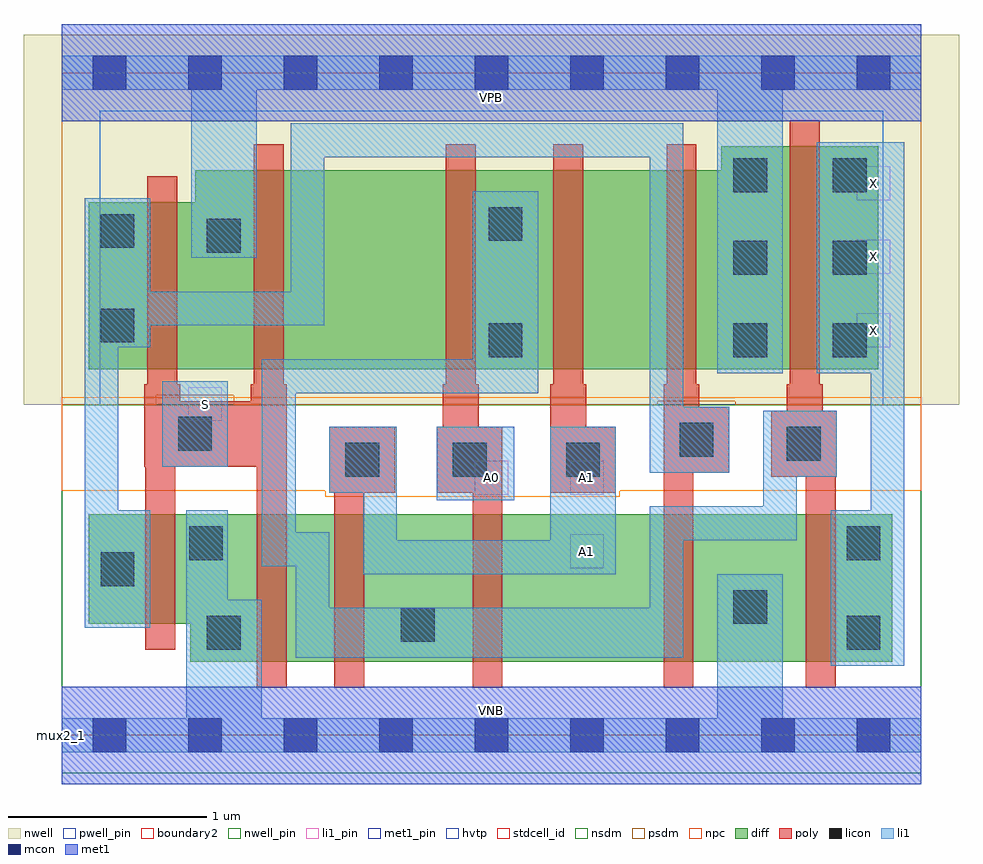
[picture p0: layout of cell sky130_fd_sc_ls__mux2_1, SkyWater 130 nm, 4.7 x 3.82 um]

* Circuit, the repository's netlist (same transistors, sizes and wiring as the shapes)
* Copyright 2020 The SkyWater PDK Authors
*
* Licensed under the Apache License, Version 2.0 (the "License");
* you may not use this file except in compliance with the License.
* You may obtain a copy of the License at
*
*     https://www.apache.org/licenses/LICENSE-2.0
*
* Unless required by applicable law or agreed to in writing, software
* distributed under the License is distributed on an "AS IS" BASIS,
* WITHOUT WARRANTIES OR CONDITIONS OF ANY KIND, either express or implied.
* See the License for the specific language governing permissions and
* limitations under the License.
*
* SPDX-License-Identifier: Apache-2.0

.SUBCKT sky130_fd_sc_ls__mux2_1 A0 A1 S VGND VNB VPB VPWR X
*.PININFO A0:I A1:I S:I VGND:I VNB:I VPB:I VPWR:I X:O
MMNA00 xb A0 smdNA0 VNB sky130_fd_pr__nfet_01v8 m=1 w=0.74U l=0.15U mult=1 sa=0.265
+ sb=0.265 sd=0.28 area=0.063 perim=1.14
MMNA01 smdNA0 Sb VGND VNB sky130_fd_pr__nfet_01v8 m=1 w=0.74U l=0.15U mult=1 sa=0.265
+ sb=0.265 sd=0.28 area=0.063 perim=1.14
MMNA10 xb A1 sndNA1 VNB sky130_fd_pr__nfet_01v8 m=1 w=0.74U l=0.15U mult=1 sa=0.265
+ sb=0.265 sd=0.28 area=0.063 perim=1.14
MMNA11 sndNA1 S VGND VNB sky130_fd_pr__nfet_01v8 m=1 w=0.74U l=0.15U mult=1 sa=0.265
+ sb=0.265 sd=0.28 area=0.063 perim=1.14
MMIN1 Sb S VGND VNB sky130_fd_pr__nfet_01v8 m=1 w=0.55U l=0.15U mult=1 sa=0.265
+ sb=0.265 sd=0.28 area=0.063 perim=1.14
MMIN2 X xb VGND VNB sky130_fd_pr__nfet_01v8 m=1 w=0.74U l=0.15U mult=1 sa=0.265
+ sb=0.265 sd=0.28 area=0.063 perim=1.14
MMPA00 VPWR S sndPS VPB sky130_fd_pr__pfet_01v8_hvt m=1 w=1.0U l=0.15U mult=1 sa=0.265
+ sb=0.265 sd=0.28 area=0.063 perim=1.14
MMPA01 sndPS A0 xb VPB sky130_fd_pr__pfet_01v8_hvt m=1 w=1.0U l=0.15U mult=1 sa=0.265
+ sb=0.265 sd=0.28 area=0.063 perim=1.14
MMPA10 VPWR Sb sndPSb VPB sky130_fd_pr__pfet_01v8_hvt m=1 w=1.0U l=0.15U mult=1
+ sa=0.265 sb=0.265 sd=0.28 area=0.063 perim=1.14
MMPA11 sndPSb A1 xb VPB sky130_fd_pr__pfet_01v8_hvt m=1 w=1.0U l=0.15U mult=1 sa=0.265
+ sb=0.265 sd=0.28 area=0.063 perim=1.14
MMIP1 Sb S VPWR VPB sky130_fd_pr__pfet_01v8_hvt m=1 w=0.84U l=0.15U mult=1 sa=0.265
+ sb=0.265 sd=0.28 area=0.063 perim=1.14
MMIP2 X xb VPWR VPB sky130_fd_pr__pfet_01v8_hvt m=1 w=1.12U l=0.15U mult=1 sa=0.265
+ sb=0.265 sd=0.28 area=0.063 perim=1.14
.ENDS sky130_fd_sc_ls__mux2_1

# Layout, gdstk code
import gdstk
lib = gdstk.Library(unit=1e-6, precision=1e-09)
def R(c, l, rs):  # rectangles x0, y0, x1, y1
    for r in rs: c.add(gdstk.rectangle(r[:2], r[2:], *l))
def A(c, l, x, y, w, h, nx, ny, dx, dy):  # array of equal rectangles
    R(c, l, [(x+i*dx, y+j*dy, x+i*dx+w, y+j*dy+h) for i in range(nx) for j in range(ny)])
def P(c, l, *ps):  # polygons
    for p in ps: c.add(gdstk.Polygon(p, *l))
nwell_pin = (64, 16)
nwell = (64, 20)
diff = (65, 20)
poly = (66, 20)
licon = (66, 44)
li1_pin = (67, 16)
li1 = (67, 20)
mcon = (67, 44)
met1_pin = (68, 16)
met1 = (68, 20)
hvtp = (78, 44)
stdcell_id = (81, 4)
nsdm = (93, 44)
psdm = (94, 20)
npc = (95, 20)
pwell_pin = (122, 16)
boundary2 = (236, 0)

sky130_fd_sc_ls__mux2_1 = lib.new_cell('sky130_fd_sc_ls__mux2_1')
R(sky130_fd_sc_ls__mux2_1, nwell_pin, [(0,3.085,4.32,3.33)])
R(sky130_fd_sc_ls__mux2_1, nwell, [(-0.19,1.66,4.51,3.52)])
P(sky130_fd_sc_ls__mux2_1, diff, [(4.105,2.96),(3.315,2.96),(3.315,2.84),(0.67,2.84),(0.67,2.68),(0.135,2.68),(0.135,1.84),(4.105,1.84)],
  [(4.175,1.11),(0.135,1.11),(0.135,0.56),(0.645,0.56),(0.645,0.37),(4.175,0.37)])
P(sky130_fd_sc_ls__mux2_1, poly, [(1.13,1.765),(1.115,1.765),(1.115,2.97),(0.965,2.97),(0.965,1.765),(0.95,1.765),(0.95,1.68),(0.595,1.68),(0.595,1.765),(0.58,1.765),(0.58,2.81),(0.43,2.81),(0.43,1.765),(0.415,1.765),(0.415,1.35),(0.42,1.35),(0.42,0.43),(0.57,0.43),(0.57,1.35),(0.98,1.35),(0.98,0.24),(1.13,0.24)],
  [(1.675,1.55),(1.345,1.55),(1.345,1.22),(1.37,1.22),(1.37,0.24),(1.52,0.24),(1.52,1.22),(1.675,1.22)],
  [(2.215,1.55),(2.095,1.55),(2.095,1.765),(2.08,1.765),(2.08,2.97),(1.93,2.97),(1.93,1.765),(1.915,1.765),(1.915,1.55),(1.885,1.55),(1.885,1.22),(2.065,1.22),(2.065,0.24),(2.215,0.24)],
  [(2.785,1.55),(2.635,1.55),(2.635,1.765),(2.62,1.765),(2.62,2.97),(2.47,2.97),(2.47,1.765),(2.455,1.765),(2.455,1.22),(2.785,1.22)],
  [(3.355,1.65),(3.205,1.65),(3.205,1.765),(3.19,1.765),(3.19,2.97),(3.04,2.97),(3.04,1.765),(3.025,1.765),(3.025,0.24),(3.175,0.24),(3.175,1.32),(3.355,1.32)],
  [(3.895,1.63),(3.825,1.63),(3.825,1.765),(3.81,1.765),(3.81,3.09),(3.66,3.09),(3.66,1.765),(3.645,1.765),(3.645,1.63),(3.565,1.63),(3.565,1.3),(3.74,1.3),(3.74,0.24),(3.89,0.24),(3.89,1.3),(3.895,1.3)])
A(sky130_fd_sc_ls__mux2_1, licon, 3.375, 1.9, 0.17, 0.17, 1, 3, 0, 0.415)
A(sky130_fd_sc_ls__mux2_1, licon, 3.875, 1.9, 0.17, 0.17, 1, 3, 0, 0.415)
R(sky130_fd_sc_ls__mux2_1, licon, [(0.73,0.43,0.9,0.6), (3.945,0.43,4.115,0.6), (1.705,0.47,1.875,0.64), (3.375,0.56,3.545,0.73), (0.195,0.75,0.365,0.92), (0.64,0.88,0.81,1.05), (3.945,0.88,4.115,1.05), (1.425,1.3,1.595,1.47), (1.965,1.3,2.135,1.47), (2.535,1.3,2.705,1.47), (3.645,1.38,3.815,1.55), (3.105,1.4,3.275,1.57), (0.585,1.43,0.755,1.6), (2.145,1.9,2.315,2.07), (0.195,1.975,0.365,2.145), (0.73,2.425,0.9,2.595), (0.195,2.45,0.365,2.62), (2.145,2.485,2.315,2.655)])
A(sky130_fd_sc_ls__mux2_1, li1_pin, 3.995, 1.95, 0.17, 0.17, 1, 3, 0, 0.37)
R(sky130_fd_sc_ls__mux2_1, li1_pin, [(2.555,0.84,2.725,1.01), (2.075,1.21,2.245,1.38), (2.555,1.21,2.725,1.38), (0.635,1.58,0.805,1.75)])
R(sky130_fd_sc_ls__mux2_1, li1, [(1.885,1.18,2.275,1.55), (0.505,1.35,0.835,1.78)])
P(sky130_fd_sc_ls__mux2_1, li1, [(2.785,1.55),(2.455,1.55),(2.455,0.98),(1.685,0.98),(1.685,1.55),(1.345,1.55),(1.345,1.22),(1.515,1.22),(1.515,0.81),(2.785,0.81)],
  [(3.355,1.65),(3.125,1.65),(3.125,3.075),(1.15,3.075),(1.15,2.23),(0.445,2.23),(0.445,2.7),(0.115,2.7),(0.115,0.54),(0.445,0.54),(0.445,1.13),(0.285,1.13),(0.285,1.95),(0.445,1.95),(0.445,2.06),(1.32,2.06),(1.32,2.905),(2.955,2.905),(2.955,1.32),(3.355,1.32)],
  [(3.895,1.63),(3.525,1.63),(3.525,1.15),(2.955,1.15),(2.955,0.64),(1.345,0.64),(1.345,1.02),(1.175,1.02),(1.175,1.72),(2.395,1.72),(2.395,2.735),(2.065,2.735),(2.065,1.89),(1.005,1.89),(1.005,0.85),(1.175,0.85),(1.175,0.39),(3.125,0.39),(3.125,0.98),(3.695,0.98),(3.695,1.3),(3.895,1.3)],
  [(4.235,2.98),(3.795,2.98),(3.795,1.82),(4.065,1.82),(4.065,1.13),(3.865,1.13),(3.865,0.35),(4.235,0.35)],
  [(4.32,3.415),(0,3.415),(0,3.245),(0.65,3.245),(0.65,2.4),(0.98,2.4),(0.98,3.245),(3.295,3.245),(3.295,1.82),(3.625,1.82),(3.625,3.245),(4.32,3.245)],
  [(4.32,0.085),(3.625,0.085),(3.625,0.81),(3.295,0.81),(3.295,0.085),(1.005,0.085),(1.005,0.68),(0.835,0.68),(0.835,1.13),(0.625,1.13),(0.625,0.085),(0,0.085),(0,-0.085),(4.32,-0.085)])
A(sky130_fd_sc_ls__mux2_1, mcon, 0.155, -0.085, 0.17, 0.17, 9, 2, 0.48, 3.33)
R(sky130_fd_sc_ls__mux2_1, met1_pin, [(0,0,4.32,0.245), (0,3.085,4.32,3.33)])
R(sky130_fd_sc_ls__mux2_1, met1, [(0,-0.245,4.32,0.245), (0,3.085,4.32,3.575)])
R(sky130_fd_sc_ls__mux2_1, hvtp, [(0.19,1.66,4.13,3.14)])
R(sky130_fd_sc_ls__mux2_1, stdcell_id, [(0,0,4.32,3.33)])
R(sky130_fd_sc_ls__mux2_1, nsdm, [(0,-0.19,4.32,1.66)])
P(sky130_fd_sc_ls__mux2_1, psdm, [(4.32,3.52),(0,3.52),(0,1.66),(0.475,1.66),(0.475,1.71),(0.865,1.71),(0.865,1.66),(2.995,1.66),(2.995,1.68),(3.385,1.68),(3.385,1.66),(4.32,1.66)])
P(sky130_fd_sc_ls__mux2_1, npc, [(4.32,1.7),(0,1.7),(0,1.23),(1.325,1.23),(1.325,1.2),(2.805,1.2),(2.805,1.23),(4.32,1.23)])
R(sky130_fd_sc_ls__mux2_1, pwell_pin, [(0,0,4.32,0.245)])
R(sky130_fd_sc_ls__mux2_1, boundary2, [(0,0,4.32,3.33)])
sky130_fd_sc_ls__mux2_1.add(gdstk.Label('mux2_1', (0,0), layer=83, texttype=44))
sky130_fd_sc_ls__mux2_1.add(gdstk.Label('VNB', (2.16,0.123), layer=64, texttype=59))
sky130_fd_sc_ls__mux2_1.add(gdstk.Label('VPB', (2.16,3.208), layer=64, texttype=5))
sky130_fd_sc_ls__mux2_1.add(gdstk.Label('VPWR', (2.16,3.208), layer=68, texttype=5))
sky130_fd_sc_ls__mux2_1.add(gdstk.Label('VGND', (2.16,0.123), layer=68, texttype=5))
sky130_fd_sc_ls__mux2_1.add(gdstk.Label('X', (4.08,2.035), layer=67, texttype=5))
sky130_fd_sc_ls__mux2_1.add(gdstk.Label('X', (4.08,2.405), layer=67, texttype=5))
sky130_fd_sc_ls__mux2_1.add(gdstk.Label('X', (4.08,2.775), layer=67, texttype=5))
sky130_fd_sc_ls__mux2_1.add(gdstk.Label('S', (0.72,1.665), layer=67, texttype=5))
sky130_fd_sc_ls__mux2_1.add(gdstk.Label('A0', (2.16,1.295), layer=67, texttype=5))
sky130_fd_sc_ls__mux2_1.add(gdstk.Label('A1', (2.64,0.925), layer=67, texttype=5))
sky130_fd_sc_ls__mux2_1.add(gdstk.Label('A1', (2.64,1.295), layer=67, texttype=5))

lib.write_gds('sky130_fd_sc_ls__mux2_1.gds')
